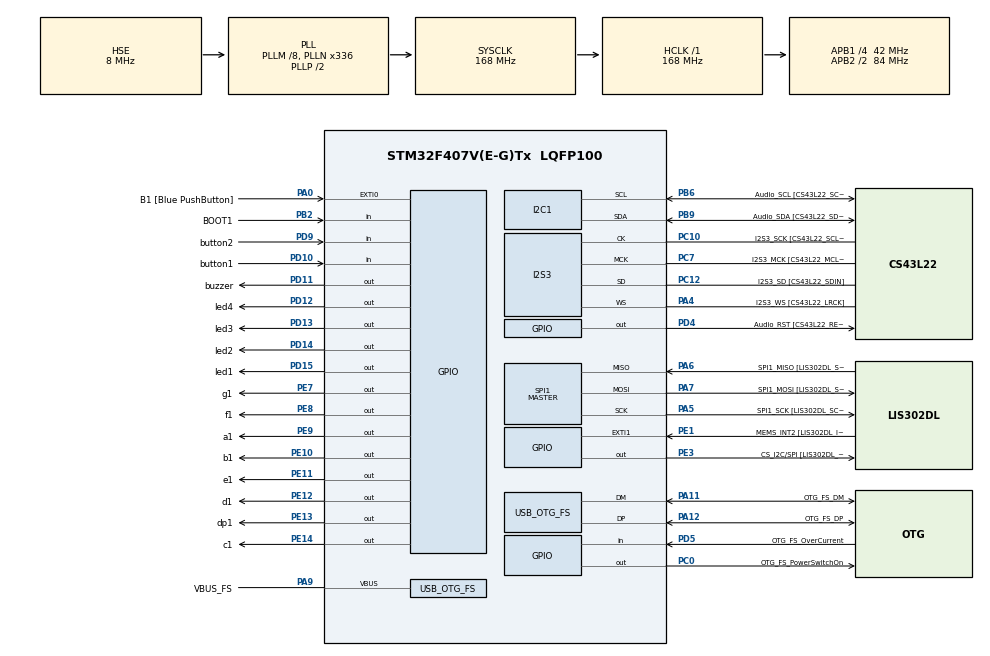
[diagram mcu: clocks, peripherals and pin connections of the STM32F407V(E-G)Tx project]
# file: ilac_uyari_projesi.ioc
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I2S3.AudioFreq-Half_Duplex_Master=I2S_AUDIOFREQ_96K
I2S3.ErrorAudioFreq=-2.34 %
I2S3.ErrorAudioFreq-Half_Duplex_Master=0.8 %
I2S3.FullDuplexMode=I2S_FULLDUPLEXMODE_DISABLE
I2S3.Instance=SPI$Index
I2S3.RealAudioFreq=93.75 KHz
I2S3.RealAudioFreq-Half_Duplex_Master=96.774 KHz
I2S3.VirtualMode=I2S_MODE_MASTER
Mcu.Family=STM32F4
Mcu.Name=STM32F407V(E-G)Tx
Mcu.Package=LQFP100
NVIC.EXTI0_IRQn=true\:0\:0\:false\:false\:true\:true\:true\:true
NVIC.OTG_FS_IRQn=true\:0\:0\:false\:false\:true\:true\:true\:true
NVIC.PriorityGroup=NVIC_PRIORITYGROUP_0
NVIC.RTC_Alarm_IRQn=true\:0\:0\:false\:false\:true\:true\:true\:true
PA0-WKUP.GPIO_Label=B1 [Blue PushButton]
PA0-WKUP.GPIO_ModeDefaultEXTI=GPIO_MODE_IT_FALLING
PA0-WKUP.GPIO_PuPd=GPIO_NOPULL
PA0-WKUP.Signal=GPXTI0
PA10.GPIO_Label=OTG_FS_ID
PA10.GPIO_Mode=GPIO_MODE_AF_PP
PA10.GPIO_PuPd=GPIO_NOPULL
PA10.GPIO_Speed=GPIO_SPEED_FREQ_LOW
PA10.Signal=USB_OTG_FS_ID
PA11.GPIO_Label=OTG_FS_DM
PA11.GPIO_Mode=GPIO_MODE_AF_PP
PA11.GPIO_PuPd=GPIO_NOPULL
PA11.GPIO_Speed=GPIO_SPEED_FREQ_LOW
PA11.Mode=Host_Only
PA11.Signal=USB_OTG_FS_DM
PA12.GPIO_Label=OTG_FS_DP
PA12.GPIO_Mode=GPIO_MODE_AF_PP
PA12.GPIO_PuPd=GPIO_NOPULL
PA12.GPIO_Speed=GPIO_SPEED_FREQ_LOW
PA12.Mode=Host_Only
PA12.Signal=USB_OTG_FS_DP
PA13.GPIO_Label=SWDIO
PA13.Mode=Serial_Wire
PA13.Signal=SYS_JTMS-SWDIO
PA14.GPIO_Label=SWCLK
PA14.Mode=Serial_Wire
PA14.Signal=SYS_JTCK-SWCLK
PA4.GPIO_Label=I2S3_WS [CS43L22_LRCK]
PA4.GPIO_Mode=GPIO_MODE_AF_PP
PA4.GPIO_PuPd=GPIO_NOPULL
PA4.GPIO_Speed=GPIO_SPEED_FREQ_LOW
PA4.Mode=Half_Duplex_Master
PA4.Signal=I2S3_WS
PA5.GPIO_Label=SPI1_SCK [LIS302DL_SCL/SPC]
PA5.GPIO_Mode=GPIO_MODE_AF_PP
PA5.GPIO_PuPd=GPIO_NOPULL
PA5.GPIO_Speed=GPIO_SPEED_FREQ_LOW
PA5.Mode=Full_Duplex_Master
PA5.Signal=SPI1_SCK
PA6.GPIO_Label=SPI1_MISO [LIS302DL_SDO]
PA6.GPIO_Mode=GPIO_MODE_AF_PP
PA6.GPIO_PuPd=GPIO_NOPULL
PA6.GPIO_Speed=GPIO_SPEED_FREQ_LOW
PA6.Mode=Full_Duplex_Master
PA6.Signal=SPI1_MISO
PA7.GPIO_Label=SPI1_MOSI [LIS302DL_SDA/SDI/SDO]
PA7.GPIO_Mode=GPIO_MODE_AF_PP
PA7.GPIO_PuPd=GPIO_NOPULL
PA7.GPIO_Speed=GPIO_SPEED_FREQ_LOW
PA7.Mode=Full_Duplex_Master
PA7.Signal=SPI1_MOSI
PA9.GPIO_Label=VBUS_FS
PA9.GPIO_Mode=GPIO_MODE_INPUT
PA9.GPIO_PuPd=GPIO_NOPULL
PA9.Mode=Activate_VBUS
PA9.Signal=USB_OTG_FS_VBUS
PB10.GPIO_Label=CLK_IN [MP45DT02_CLK]
PB10.GPIO_Mode=GPIO_MODE_AF_PP
PB10.GPIO_PuPd=GPIO_NOPULL
PB10.GPIO_Speed=GPIO_SPEED_FREQ_LOW
PB10.Signal=I2S2_CK
PB2.GPIO_Label=BOOT1
PB2.GPIO_Mode=GPIO_MODE_INPUT
PB2.GPIO_PuPd=GPIO_NOPULL
PB2.Signal=GPIO_Input
PB3.GPIO_Label=SWO
PB3.Signal=SYS_JTDO-SWO
PB6.GPIO_Label=Audio_SCL [CS43L22_SCL]
PB6.GPIO_Mode=GPIO_MODE_AF_OD
PB6.GPIO_Pu=GPIO_PULLUP
PB6.GPIO_PuPd=GPIO_NOPULL
PB6.GPIO_Speed=GPIO_SPEED_FREQ_LOW
PB6.Mode=I2C
PB6.Signal=I2C1_SCL
PB9.GPIO_Label=Audio_SDA [CS43L22_SDA]
PB9.GPIO_Mode=GPIO_MODE_AF_OD
PB9.GPIO_Pu=GPIO_PULLUP
PB9.GPIO_PuPd=GPIO_NOPULL
PB9.GPIO_Speed=GPIO_SPEED_FREQ_LOW
PB9.Mode=I2C
PB9.Signal=I2C1_SDA
PC0.GPIO_Label=OTG_FS_PowerSwitchOn
PC0.GPIO_PuPd=GPIO_NOPULL
PC0.GPIO_Speed=GPIO_SPEED_FREQ_LOW
PC0.PinState=GPIO_PIN_SET
PC0.Signal=GPIO_Output
PC10.GPIO_Label=I2S3_SCK [CS43L22_SCLK]
PC10.GPIO_Mode=GPIO_MODE_AF_PP
PC10.GPIO_PuPd=GPIO_NOPULL
PC10.GPIO_Speed=GPIO_SPEED_FREQ_LOW
PC10.Mode=Half_Duplex_Master
PC10.Signal=I2S3_CK
PC12.GPIO_Label=I2S3_SD [CS43L22_SDIN]
PC12.GPIO_Mode=GPIO_MODE_AF_PP
PC12.GPIO_PuPd=GPIO_NOPULL
PC12.GPIO_Speed=GPIO_SPEED_FREQ_LOW
PC12.Mode=Half_Duplex_Master
PC12.Signal=I2S3_SD
PC14-OSC32_IN.GPIO_Label=PC14-OSC32_IN
PC14-OSC32_IN.Mode=LSE-External-Oscillator
PC14-OSC32_IN.Signal=RCC_OSC32_IN
PC15-OSC32_OUT.GPIO_Label=PC15-OSC32_OUT
PC15-OSC32_OUT.Mode=LSE-External-Oscillator
PC15-OSC32_OUT.Signal=RCC_OSC32_OUT
PC3.GPIO_Label=PDM_OUT [MP45DT02_DOUT]
PC3.GPIO_Mode=GPIO_MODE_AF_PP
PC3.GPIO_PuPd=GPIO_NOPULL
PC3.GPIO_Speed=GPIO_SPEED_FREQ_LOW
PC3.Signal=I2S2_SD
PC7.GPIO_Label=I2S3_MCK [CS43L22_MCLK]
PC7.GPIO_Mode=GPIO_MODE_AF_PP
PC7.GPIO_PuPd=GPIO_NOPULL
PC7.GPIO_Speed=GPIO_SPEED_FREQ_LOW
PC7.Mode=Master_Clock_Activated
PC7.Signal=I2S3_MCK
PD10.GPIO_Label=button1
PD10.GPIO_PuPd=GPIO_PULLDOWN
PD10.Signal=GPIO_Input
PD11.GPIO_Label=buzzer
PD11.Signal=GPIO_Output
PD12.GPIO_Label=led4
PD12.GPIO_PuPd=GPIO_NOPULL
PD12.GPIO_Speed=GPIO_SPEED_FREQ_LOW
PD12.Signal=GPIO_Output
PD13.GPIO_Label=led3
PD13.GPIO_PuPd=GPIO_NOPULL
PD13.GPIO_Speed=GPIO_SPEED_FREQ_LOW
PD13.Signal=GPIO_Output
PD14.GPIO_Label=led2
PD14.GPIO_PuPd=GPIO_NOPULL
PD14.GPIO_Speed=GPIO_SPEED_FREQ_LOW
PD14.Signal=GPIO_Output
PD15.GPIO_Label=led1
PD15.GPIO_PuPd=GPIO_NOPULL
PD15.GPIO_Speed=GPIO_SPEED_FREQ_LOW
PD15.Signal=GPIO_Output
PD4.GPIO_Label=Audio_RST [CS43L22_RESET]
PD4.GPIO_PuPd=GPIO_NOPULL
PD4.GPIO_Speed=GPIO_SPEED_FREQ_LOW
PD4.Signal=GPIO_Output
PD5.GPIO_Label=OTG_FS_OverCurrent
PD5.GPIO_Mode=GPIO_MODE_INPUT
PD5.GPIO_PuPd=GPIO_NOPULL
PD5.Signal=GPIO_Input
PD9.GPIO_Label=button2
PD9.GPIO_PuPd=GPIO_PULLDOWN
PD9.Signal=GPIO_Input
PE1.GPIO_Label=MEMS_INT2 [LIS302DL_INT2]
PE1.GPIO_ModeDefaultEXTI=GPIO_MODE_EVT_RISING
PE1.GPIO_PuPd=GPIO_NOPULL
PE1.Signal=GPXTI1
PE10.GPIO_Label=b1
PE10.Signal=GPIO_Output
PE11.GPIO_Label=e1
PE11.Signal=GPIO_Output
PE12.GPIO_Label=d1
PE12.Signal=GPIO_Output
PE13.GPIO_Label=dp1
PE13.Signal=GPIO_Output
PE14.GPIO_Label=c1
PE14.Signal=GPIO_Output
PE3.GPIO_Label=CS_I2C/SPI [LIS302DL_CS_I2C/SPI]
PE3.GPIO_PuPd=GPIO_NOPULL
PE3.GPIO_Speed=GPIO_SPEED_FREQ_LOW
PE3.Signal=GPIO_Output
PE7.GPIO_Label=g1
PE7.Signal=GPIO_Output
PE8.GPIO_Label=f1
PE8.Signal=GPIO_Output
PE9.GPIO_Label=a1
PE9.Signal=GPIO_Output
PH0-OSC_IN.GPIO_Label=PH0-OSC_IN
PH0-OSC_IN.Mode=HSE-External-Oscillator
PH0-OSC_IN.Signal=RCC_OSC_IN
PH1-OSC_OUT.GPIO_Label=PH1-OSC_OUT
PH1-OSC_OUT.Mode=HSE-External-Oscillator
PH1-OSC_OUT.Signal=RCC_OSC_OUT
ProjectManager.HeapSize=0x200
ProjectManager.StackSize=0x400
ProjectManager.TargetToolchain=STM32CubeIDE
RCC.48MHZClocksFreq_Value=48000000
RCC.AHBFreq_Value=168000000
RCC.APB1CLKDivider=RCC_HCLK_DIV4
RCC.APB1Freq_Value=42000000
RCC.APB1TimFreq_Value=84000000
RCC.APB2CLKDivider=RCC_HCLK_DIV2
RCC.APB2Freq_Value=84000000
RCC.APB2TimFreq_Value=168000000
RCC.CortexFreq_Value=168000000
RCC.HCLKFreq_Value=168000000
RCC.HSE_VALUE=8000000
RCC.HSI_VALUE=16000000
RCC.PLLM=8
RCC.PLLN=336
RCC.PLLQ=7
RCC.RCC_RTC_Clock_Source=RCC_RTCCLKSOURCE_LSI
RCC.RCC_RTC_Clock_SourceVirtual=RCC_RTCCLKSOURCE_LSE
RCC.SYSCLKFreq_VALUE=168000000
RCC.SYSCLKSource=RCC_SYSCLKSOURCE_PLLCLK
RCC.VCOOutputFreq_Value=336000000
RTC.Alarm=RTC_ALARM_A
RTC.Date=2
RTC.Format=RTC_FORMAT_BIN
RTC.Hours=17
RTC.Minutes=5
RTC.Month=RTC_MONTH_FEBRUARY
RTC.Seconds=1
RTC.Seconds_A=10
RTC.WeekDay=RTC_WEEKDAY_SUNDAY
SPI1.BaudRatePrescaler-Full_Duplex_Master=SPI_BAUDRATEPRESCALER_2
SPI1.CalculateBaudRate-Full_Duplex_Master=42.0 MBits/s
SPI1.Direction=SPI_DIRECTION_2LINES
SPI1.Mode=SPI_MODE_MASTER
SPI1.Mode-Full_Duplex_Master=SPI_MODE_MASTER
SPI1.VirtualType=VM_MASTER
USB_HOST.BSP.number=1
USB_HOST.USBH_HandleTypeDef-CDC_FS=hUsbHostFS
USB_HOST.VirtualModeFS=Cdc
USB_HOST0.BSP.STBoard=false
USB_HOST0.BSP.api=Unknown
USB_HOST0.BSP.instance=PC0
USB_HOST0.BSP.ip=GPIO
USB_HOST0.BSP.mode=Output
USB_HOST0.BSP.name=Drive_VBUS_FS
USB_HOST0.BSP.solution=PC0
USB_OTG_FS.VirtualMode=Host_Only
USB_OTG_FS.phy_itface=HCD_PHY_EMBEDDED
VP_RTC_VS_RTC_Activate.Mode=RTC_Enabled
VP_RTC_VS_RTC_Alarm_A_Intern.Mode=Alarm A
VP_RTC_VS_RTC_Calendar.Mode=RTC_Calendar
VP_USB_HOST_VS_USB_HOST_CDC_FS.Mode=CDC_FS
board=STM32F407G-DISC1

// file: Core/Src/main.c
/* USER CODE BEGIN Header */
/**
  ******************************************************************************
  * @file           : main.c
  * @brief          : Main program body
  ******************************************************************************
  * @attention
  *
  * Copyright (c) 2025 STMicroelectronics.
  * All rights reserved.
  *
  * This software is licensed under terms that can be found in the LICENSE file
  * in the root directory of this software component.
  * If no LICENSE file comes with this software, it is provided AS-IS.
  *
  ******************************************************************************
  */
/* USER CODE END Header */
#include "main.h"
#include "usb_host.h"

/* USER CODE BEGIN Includes */
#include "stdbool.h"
#include "stdio.h"
#include "stdint.h"
#include "FLASH_PROCESS_lib.h"
/* USER CODE END Includes */

I2C_HandleTypeDef hi2c1;

I2S_HandleTypeDef hi2s3;

RTC_HandleTypeDef hrtc;

SPI_HandleTypeDef hspi1;

/* USER CODE BEGIN PV */
RTC_TimeTypeDef RTC_Time;
RTC_TimeTypeDef RTC_AlarmTime;
RTC_DateTypeDef RTC_Date;
RTC_AlarmTypeDef RTC_Alarm;

bool AlarmState = false;
bool AlarmTriggered =false;
int button1_flag=0;
int button2_flag=0;

int PickerHours1=0;
int PickerHours2=0;
int PickerMinutes1=0;
int PickerMinutes2=0;

uint32_t flash_hours;
uint32_t flash_minutes;
/* USER CODE END PV */

void SystemClock_Config(void);
static void MX_GPIO_Init(void);
static void MX_I2C1_Init(void);
static void MX_I2S3_Init(void);
static void MX_SPI1_Init(void);
static void MX_RTC_Init(void);
void MX_USB_HOST_Process(void);

/* USER CODE BEGIN 0 */

void process_alarm(bool AlarmState, int time){
	if(AlarmState == true){
		HAL_GPIO_TogglePin(buzzer_GPIO_Port, buzzer_Pin);

//		06:00 - 11:59 → Sabah
//		12:00 - 17:59 → Öğle
//		18:00 - 23:59 → Akşam
//		00:00 - 05:59 → Gece
			if (6 <= time && time < 12) {
			    // Sabah
				HAL_GPIO_TogglePin(led1_GPIO_Port, led1_Pin);
				HAL_GPIO_WritePin(led2_GPIO_Port, led2_Pin, GPIO_PIN_RESET);
				HAL_GPIO_WritePin(led3_GPIO_Port, led3_Pin, GPIO_PIN_RESET);
				HAL_GPIO_WritePin(led4_GPIO_Port, led4_Pin, GPIO_PIN_RESET);
			}
			else if (12 <= time && time < 18) {
			    // Öğle
				HAL_GPIO_TogglePin(led2_GPIO_Port, led2_Pin);
				HAL_GPIO_WritePin(led1_GPIO_Port, led1_Pin, GPIO_PIN_RESET);
				HAL_GPIO_WritePin(led3_GPIO_Port, led3_Pin, GPIO_PIN_RESET);
				HAL_GPIO_WritePin(led4_GPIO_Port, led4_Pin, GPIO_PIN_RESET);
			}
			else if (18 <= time && time < 24) {
			    // Akşam
				HAL_GPIO_TogglePin(led3_GPIO_Port, led3_Pin);
				HAL_GPIO_WritePin(led1_GPIO_Port, led1_Pin, GPIO_PIN_RESET);
				HAL_GPIO_WritePin(led2_GPIO_Port, led2_Pin, GPIO_PIN_RESET);
				HAL_GPIO_WritePin(led4_GPIO_Port, led4_Pin, GPIO_PIN_RESET);
			}
			else {
			    // Gece
				HAL_GPIO_TogglePin(led4_GPIO_Port, led4_Pin);
				HAL_GPIO_WritePin(led1_GPIO_Port, led1_Pin, GPIO_PIN_RESET);
				HAL_GPIO_WritePin(led2_GPIO_Port, led2_Pin, GPIO_PIN_RESET);
				HAL_GPIO_WritePin(led3_GPIO_Port, led3_Pin, GPIO_PIN_RESET);
			}

	}
	else{
		HAL_GPIO_WritePin(buzzer_GPIO_Port, buzzer_Pin, GPIO_PIN_RESET);
		HAL_GPIO_WritePin(led1_GPIO_Port, led1_Pin, GPIO_PIN_RESET);
		HAL_GPIO_WritePin(led2_GPIO_Port, led2_Pin, GPIO_PIN_RESET);
		HAL_GPIO_WritePin(led3_GPIO_Port, led3_Pin, GPIO_PIN_RESET);
		HAL_GPIO_WritePin(led4_GPIO_Port, led4_Pin, GPIO_PIN_RESET);
	}
}

void HAL_GPIO_EXTI_Callback(uint16_t GPIO_Pin){
    if (GPIO_Pin == GPIO_PIN_0)
    {
    	AlarmTriggered = true;
    }

}

void SevenSDisplay1(int value) {

    HAL_GPIO_WritePin(a1_GPIO_Port, a1_Pin, GPIO_PIN_RESET);
    HAL_GPIO_WritePin(b1_GPIO_Port, b1_Pin, GPIO_PIN_RESET);
    HAL_GPIO_WritePin(c1_GPIO_Port, c1_Pin, GPIO_PIN_RESET);
    HAL_GPIO_WritePin(d1_GPIO_Port, d1_Pin, GPIO_PIN_RESET);
    HAL_GPIO_WritePin(e1_GPIO_Port, e1_Pin, GPIO_PIN_RESET);
    HAL_GPIO_WritePin(f1_GPIO_Port, f1_Pin, GPIO_PIN_RESET);
    HAL_GPIO_WritePin(g1_GPIO_Port, g1_Pin, GPIO_PIN_RESET);
    HAL_GPIO_WritePin(dp1_GPIO_Port, dp1_Pin, GPIO_PIN_RESET);
    switch (value) {
        case 0:
            HAL_GPIO_WritePin(a1_GPIO_Port, a1_Pin, GPIO_PIN_SET);
            HAL_GPIO_WritePin(b1_GPIO_Port, b1_Pin, GPIO_PIN_SET);
            HAL_GPIO_WritePin(c1_GPIO_Port, c1_Pin, GPIO_PIN_SET);
            HAL_GPIO_WritePin(d1_GPIO_Port, d1_Pin, GPIO_PIN_SET);
            HAL_GPIO_WritePin(e1_GPIO_Port, e1_Pin, GPIO_PIN_SET);
            HAL_GPIO_WritePin(f1_GPIO_Port, f1_Pin, GPIO_PIN_SET);
            break;
        case 1:
            HAL_GPIO_WritePin(b1_GPIO_Port, b1_Pin, GPIO_PIN_SET);
            HAL_GPIO_WritePin(c1_GPIO_Port, c1_Pin, GPIO_PIN_SET);
            break;
        case 2:
            HAL_GPIO_WritePin(a1_GPIO_Port, a1_Pin, GPIO_PIN_SET);
            HAL_GPIO_WritePin(b1_GPIO_Port, b1_Pin, GPIO_PIN_SET);
            HAL_GPIO_WritePin(g1_GPIO_Port, g1_Pin, GPIO_PIN_SET);
            HAL_GPIO_WritePin(e1_GPIO_Port, e1_Pin, GPIO_PIN_SET);
            HAL_GPIO_WritePin(d1_GPIO_Port, d1_Pin, GPIO_PIN_SET);
            break;
        case 3:
            HAL_GPIO_WritePin(a1_GPIO_Port, a1_Pin, GPIO_PIN_SET);
            HAL_GPIO_WritePin(b1_GPIO_Port, b1_Pin, GPIO_PIN_SET);
            HAL_GPIO_WritePin(g1_GPIO_Port, g1_Pin, GPIO_PIN_SET);
            HAL_GPIO_WritePin(c1_GPIO_Port, c1_Pin, GPIO_PIN_SET);
            HAL_GPIO_WritePin(d1_GPIO_Port, d1_Pin, GPIO_PIN_SET);
            break;
        case 4:
            HAL_GPIO_WritePin(f1_GPIO_Port, f1_Pin, GPIO_PIN_SET);
            HAL_GPIO_WritePin(g1_GPIO_Port, g1_Pin, GPIO_PIN_SET);
            HAL_GPIO_WritePin(b1_GPIO_Port, b1_Pin, GPIO_PIN_SET);
            HAL_GPIO_WritePin(c1_GPIO_Port, c1_Pin, GPIO_PIN_SET);
            break;
        case 5:
            HAL_GPIO_WritePin(a1_GPIO_Port, a1_Pin, GPIO_PIN_SET);
            HAL_GPIO_WritePin(f1_GPIO_Port, f1_Pin, GPIO_PIN_SET);
            HAL_GPIO_WritePin(g1_GPIO_Port, g1_Pin, GPIO_PIN_SET);
            HAL_GPIO_WritePin(c1_GPIO_Port, c1_Pin, GPIO_PIN_SET);
            HAL_GPIO_WritePin(d1_GPIO_Port, d1_Pin, GPIO_PIN_SET);
            break;
        case 6:
            HAL_GPIO_WritePin(a1_GPIO_Port, a1_Pin, GPIO_PIN_SET);
            HAL_GPIO_WritePin(f1_GPIO_Port, f1_Pin, GPIO_PIN_SET);
            HAL_GPIO_WritePin(e1_GPIO_Port, e1_Pin, GPIO_PIN_SET);
            HAL_GPIO_WritePin(d1_GPIO_Port, d1_Pin, GPIO_PIN_SET);
            HAL_GPIO_WritePin(c1_GPIO_Port, c1_Pin, GPIO_PIN_SET);
            HAL_GPIO_WritePin(g1_GPIO_Port, g1_Pin, GPIO_PIN_SET);
            break;
        case 7:
            HAL_GPIO_WritePin(a1_GPIO_Port, a1_Pin, GPIO_PIN_SET);
            HAL_GPIO_WritePin(b1_GPIO_Port, b1_Pin, GPIO_PIN_SET);
            HAL_GPIO_WritePin(c1_GPIO_Port, c1_Pin, GPIO_PIN_SET);
            break;
        case 8:
            HAL_GPIO_WritePin(a1_GPIO_Port, a1_Pin, GPIO_PIN_SET);
            HAL_GPIO_WritePin(b1_GPIO_Port, b1_Pin, GPIO_PIN_SET);
            HAL_GPIO_WritePin(c1_GPIO_Port, c1_Pin, GPIO_PIN_SET);
            HAL_GPIO_WritePin(d1_GPIO_Port, d1_Pin, GPIO_PIN_SET);
            HAL_GPIO_WritePin(e1_GPIO_Port, e1_Pin, GPIO_PIN_SET);
            HAL_GPIO_WritePin(f1_GPIO_Port, f1_Pin, GPIO_PIN_SET);
            HAL_GPIO_WritePin(g1_GPIO_Port, g1_Pin, GPIO_PIN_SET);
            break;
        case 9:
            HAL_GPIO_WritePin(a1_GPIO_Port, a1_Pin, GPIO_PIN_SET);
            HAL_GPIO_WritePin(b1_GPIO_Port, b1_Pin, GPIO_PIN_SET);
            HAL_GPIO_WritePin(c1_GPIO_Port, c1_Pin, GPIO_PIN_SET);
            HAL_GPIO_WritePin(d1_GPIO_Port, d1_Pin, GPIO_PIN_SET);
            HAL_GPIO_WritePin(f1_GPIO_Port, f1_Pin, GPIO_PIN_SET);
            HAL_GPIO_WritePin(g1_GPIO_Port, g1_Pin, GPIO_PIN_SET);
            break;
        default:
            HAL_GPIO_WritePin(dp1_GPIO_Port, dp1_Pin, GPIO_PIN_RESET);
            break;
    }
}

void SevenSDisplay1_null(){
	  HAL_GPIO_WritePin(g1_GPIO_Port, g1_Pin, GPIO_PIN_SET);
	  HAL_GPIO_WritePin(a1_GPIO_Port, a1_Pin, GPIO_PIN_SET);
	  HAL_GPIO_WritePin(b1_GPIO_Port, b1_Pin, GPIO_PIN_SET);
	  HAL_GPIO_WritePin(c1_GPIO_Port, c1_Pin, GPIO_PIN_SET);
	  HAL_GPIO_WritePin(d1_GPIO_Port, d1_Pin, GPIO_PIN_SET);
	  HAL_GPIO_WritePin(e1_GPIO_Port, e1_Pin, GPIO_PIN_SET);
	  HAL_GPIO_WritePin(f1_GPIO_Port, f1_Pin, GPIO_PIN_SET);
	  HAL_GPIO_WritePin(dp1_GPIO_Port, dp1_Pin, GPIO_PIN_SET);
}

void TimePicker(int value){
	switch(value){
		case 1:
			if(HAL_GPIO_ReadPin(button2_GPIO_Port, button2_Pin) == 1){
				PickerHours1 =+1;
			}
			break;
		case 2:
			if(HAL_GPIO_ReadPin(button2_GPIO_Port, button2_Pin) == 1){
				PickerHours2 =+1;
			}
			break;
		case 3:
            HAL_GPIO_WritePin(dp1_GPIO_Port, dp1_Pin, GPIO_PIN_RESET);
			if(HAL_GPIO_ReadPin(button2_GPIO_Port, button2_Pin) == 1){
				PickerMinutes1 =+1;
				SevenSDisplay1(PickerMinutes1);
			}
			break;
		case 4:
            HAL_GPIO_WritePin(dp1_GPIO_Port, dp1_Pin, GPIO_PIN_RESET);
			if(HAL_GPIO_ReadPin(button2_GPIO_Port, button2_Pin) == 1){
				PickerMinutes2 =+1;
				SevenSDisplay1(PickerMinutes1);
			}
			break;
		default:
			break;

	}
}

/* USER CODE END 0 */

int main(void)
{

  /* MCU Configuration--------------------------------------------------------*/

  /* Reset of all peripherals, Initializes the Flash interface and the Systick. */
  HAL_Init();

  /* Configure the system clock */
  SystemClock_Config();

  /* Initialize all configured peripherals */
  MX_GPIO_Init();
  MX_I2C1_Init();
  MX_I2S3_Init();
  MX_SPI1_Init();
  MX_USB_HOST_Init();
  MX_RTC_Init();
  /* USER CODE BEGIN 2 */

  RTC_Time.Hours = 21;
  RTC_Time.Minutes = 15;
  RTC_Time.Seconds = 0;
  HAL_RTC_SetTime(&hrtc, &RTC_Time, RTC_FORMAT_BIN);

  RTC_Date.Year = 25;
  RTC_Date.Month = RTC_MONTH_FEBRUARY;
  RTC_Date.Date = 1;
  RTC_Date.WeekDay = RTC_WEEKDAY_SUNDAY;
  HAL_RTC_SetDate(&hrtc, &RTC_Date, RTC_FORMAT_BIN);

  RTC_AlarmTime.Hours = 21;
  RTC_AlarmTime.Minutes = 16;
  RTC_AlarmTime.Seconds = 0;

  SevenSDisplay1_null();

//  RTC_AlarmTime.Hours = 21;
//  RTC_AlarmTime.Minutes = 16;
//  RTC_Alarm.AlarmTime = RTC_AlarmTime;
//  HAL_RTC_SetAlarm(&hrtc, &RTC_Alarm, RTC_FORMAT_BIN);

  /* USER CODE END 2 */

  /* Infinite loop */
  while (1)
  {
    MX_USB_HOST_Process();

    /* USER CODE BEGIN 3 */

    HAL_RTC_GetTime(&hrtc, &RTC_Time, RTC_FORMAT_BIN);
    HAL_RTC_GetDate(&hrtc, &RTC_Date, RTC_FORMAT_BIN);

    if(HAL_GPIO_ReadPin(button1_GPIO_Port, button1_Pin) == GPIO_PIN_SET){
    	button1_flag +=1;
    	TimePicker(button1_flag);
        HAL_Delay(500);
    	if (button1_flag >= 5){
    		int setMinutes = (PickerMinutes1*10) + PickerMinutes2;
    		int setHours = (PickerHours1*10) + PickerHours2;
    		Flash_WR(flash_hours, setHours);
    		Flash_WR(flash_minutes, setMinutes);
    		button1_flag = 0;
    	}
    }
    if(button1_flag == 0){
        if(!AlarmTriggered && RTC_AlarmTime.Hours==RTC_Time.Hours && RTC_AlarmTime.Minutes == RTC_Time.Minutes){
        	AlarmState = true;
        }
        else{
        	AlarmState = false;
        }
        if(RTC_AlarmTime.Hours==RTC_Time.Hours && (RTC_AlarmTime.Minutes + 1)  == RTC_Time.Minutes ){
        	AlarmTriggered = false;
        }
        process_alarm(AlarmState, RTC_AlarmTime.Hours);
        HAL_Delay(100);
    }

  }
  /* USER CODE END 3 */
}

void SystemClock_Config(void)
{
  RCC_OscInitTypeDef RCC_OscInitStruct = {0};
  RCC_ClkInitTypeDef RCC_ClkInitStruct = {0};

  /** Configure the main internal regulator output voltage
  */
  __HAL_RCC_PWR_CLK_ENABLE();
  __HAL_PWR_VOLTAGESCALING_CONFIG(PWR_REGULATOR_VOLTAGE_SCALE1);

  /** Initializes the RCC Oscillators according to the specified parameters
  * in the RCC_OscInitTypeDef structure.
  */
  RCC_OscInitStruct.OscillatorType = RCC_OSCILLATORTYPE_LSI|RCC_OSCILLATORTYPE_HSE;
  RCC_OscInitStruct.HSEState = RCC_HSE_ON;
  RCC_OscInitStruct.LSIState = RCC_LSI_ON;
  RCC_OscInitStruct.PLL.PLLState = RCC_PLL_ON;
  RCC_OscInitStruct.PLL.PLLSource = RCC_PLLSOURCE_HSE;
  RCC_OscInitStruct.PLL.PLLM = 8;
  RCC_OscInitStruct.PLL.PLLN = 336;
  RCC_OscInitStruct.PLL.PLLP = RCC_PLLP_DIV2;
  RCC_OscInitStruct.PLL.PLLQ = 7;
  if (HAL_RCC_OscConfig(&RCC_OscInitStruct) != HAL_OK)
  {
    Error_Handler();
  }

  /** Initializes the CPU, AHB and APB buses clocks
  */
  RCC_ClkInitStruct.ClockType = RCC_CLOCKTYPE_HCLK|RCC_CLOCKTYPE_SYSCLK
                              |RCC_CLOCKTYPE_PCLK1|RCC_CLOCKTYPE_PCLK2;
  RCC_ClkInitStruct.SYSCLKSource = RCC_SYSCLKSOURCE_PLLCLK;
  RCC_ClkInitStruct.AHBCLKDivider = RCC_SYSCLK_DIV1;
  RCC_ClkInitStruct.APB1CLKDivider = RCC_HCLK_DIV4;
  RCC_ClkInitStruct.APB2CLKDivider = RCC_HCLK_DIV2;

  if (HAL_RCC_ClockConfig(&RCC_ClkInitStruct, FLASH_LATENCY_5) != HAL_OK)
  {
    Error_Handler();
  }
}

static void MX_I2C1_Init(void)
{

  hi2c1.Instance = I2C1;
  hi2c1.Init.ClockSpeed = 100000;
  hi2c1.Init.DutyCycle = I2C_DUTYCYCLE_2;
  hi2c1.Init.OwnAddress1 = 0;
  hi2c1.Init.AddressingMode = I2C_ADDRESSINGMODE_7BIT;
  hi2c1.Init.DualAddressMode = I2C_DUALADDRESS_DISABLE;
  hi2c1.Init.OwnAddress2 = 0;
  hi2c1.Init.GeneralCallMode = I2C_GENERALCALL_DISABLE;
  hi2c1.Init.NoStretchMode = I2C_NOSTRETCH_DISABLE;
  if (HAL_I2C_Init(&hi2c1) != HAL_OK)
  {
    Error_Handler();
  }

}

static void MX_I2S3_Init(void)
{

  hi2s3.Instance = SPI3;
  hi2s3.Init.Mode = I2S_MODE_MASTER_TX;
  hi2s3.Init.Standard = I2S_STANDARD_PHILIPS;
  hi2s3.Init.DataFormat = I2S_DATAFORMAT_16B;
  hi2s3.Init.MCLKOutput = I2S_MCLKOUTPUT_ENABLE;
  hi2s3.Init.AudioFreq = I2S_AUDIOFREQ_96K;
  hi2s3.Init.CPOL = I2S_CPOL_LOW;
  hi2s3.Init.ClockSource = I2S_CLOCK_PLL;
  hi2s3.Init.FullDuplexMode = I2S_FULLDUPLEXMODE_DISABLE;
  if (HAL_I2S_Init(&hi2s3) != HAL_OK)
  {
    Error_Handler();
  }

}

static void MX_RTC_Init(void)
{

  RTC_TimeTypeDef sTime = {0};
  RTC_DateTypeDef sDate = {0};
  RTC_AlarmTypeDef sAlarm = {0};

  /** Initialize RTC Only
  */
  hrtc.Instance = RTC;
  hrtc.Init.HourFormat = RTC_HOURFORMAT_24;
  hrtc.Init.AsynchPrediv = 127;
  hrtc.Init.SynchPrediv = 255;
  hrtc.Init.OutPut = RTC_OUTPUT_DISABLE;
  hrtc.Init.OutPutPolarity = RTC_OUTPUT_POLARITY_HIGH;
  hrtc.Init.OutPutType = RTC_OUTPUT_TYPE_OPENDRAIN;
  if (HAL_RTC_Init(&hrtc) != HAL_OK)
  {
    Error_Handler();
  }

  /** Initialize RTC and set the Time and Date
  */
  sTime.Hours = 17;
  sTime.Minutes = 5;
  sTime.Seconds = 1;
  sTime.DayLightSaving = RTC_DAYLIGHTSAVING_NONE;
  sTime.StoreOperation = RTC_STOREOPERATION_RESET;
  if (HAL_RTC_SetTime(&hrtc, &sTime, RTC_FORMAT_BIN) != HAL_OK)
  {
    Error_Handler();
  }
  sDate.WeekDay = RTC_WEEKDAY_SUNDAY;
  sDate.Month = RTC_MONTH_FEBRUARY;
  sDate.Date = 2;
  sDate.Year = 0;

  if (HAL_RTC_SetDate(&hrtc, &sDate, RTC_FORMAT_BIN) != HAL_OK)
  {
    Error_Handler();
  }

  /** Enable the Alarm A
  */
  sAlarm.AlarmTime.Hours = 0;
  sAlarm.AlarmTime.Minutes = 0;
  sAlarm.AlarmTime.Seconds = 10;
  sAlarm.AlarmTime.SubSeconds = 0;
  sAlarm.AlarmTime.DayLightSaving = RTC_DAYLIGHTSAVING_NONE;
  sAlarm.AlarmTime.StoreOperation = RTC_STOREOPERATION_RESET;
  sAlarm.AlarmMask = RTC_ALARMMASK_NONE;
  sAlarm.AlarmSubSecondMask = RTC_ALARMSUBSECONDMASK_ALL;
  sAlarm.AlarmDateWeekDaySel = RTC_ALARMDATEWEEKDAYSEL_DATE;
  sAlarm.AlarmDateWeekDay = 1;
  sAlarm.Alarm = RTC_ALARM_A;
  if (HAL_RTC_SetAlarm_IT(&hrtc, &sAlarm, RTC_FORMAT_BIN) != HAL_OK)
  {
    Error_Handler();
  }

}

static void MX_SPI1_Init(void)
{

  /* SPI1 parameter configuration*/
  hspi1.Instance = SPI1;
  hspi1.Init.Mode = SPI_MODE_MASTER;
  hspi1.Init.Direction = SPI_DIRECTION_2LINES;
  hspi1.Init.DataSize = SPI_DATASIZE_8BIT;
  hspi1.Init.CLKPolarity = SPI_POLARITY_LOW;
  hspi1.Init.CLKPhase = SPI_PHASE_1EDGE;
  hspi1.Init.NSS = SPI_NSS_SOFT;
  hspi1.Init.BaudRatePrescaler = SPI_BAUDRATEPRESCALER_2;
  hspi1.Init.FirstBit = SPI_FIRSTBIT_MSB;
  hspi1.Init.TIMode = SPI_TIMODE_DISABLE;
  hspi1.Init.CRCCalculation = SPI_CRCCALCULATION_DISABLE;
  hspi1.Init.CRCPolynomial = 10;
  if (HAL_SPI_Init(&hspi1) != HAL_OK)
  {
    Error_Handler();
  }

}

static void MX_GPIO_Init(void)
{
  GPIO_InitTypeDef GPIO_InitStruct = {0};

  /* GPIO Ports Clock Enable */
  __HAL_RCC_GPIOE_CLK_ENABLE();
  __HAL_RCC_GPIOC_CLK_ENABLE();
  __HAL_RCC_GPIOH_CLK_ENABLE();
  __HAL_RCC_GPIOA_CLK_ENABLE();
  __HAL_RCC_GPIOB_CLK_ENABLE();
  __HAL_RCC_GPIOD_CLK_ENABLE();

  /*Configure GPIO pin Output Level */
  HAL_GPIO_WritePin(GPIOE, CS_I2C_SPI_Pin|g1_Pin|f1_Pin|a1_Pin
                          |b1_Pin|e1_Pin|d1_Pin|dp1_Pin
                          |c1_Pin, GPIO_PIN_RESET);

  /*Configure GPIO pin Output Level */
  HAL_GPIO_WritePin(OTG_FS_PowerSwitchOn_GPIO_Port, OTG_FS_PowerSwitchOn_Pin, GPIO_PIN_SET);

  /*Configure GPIO pin Output Level */
  HAL_GPIO_WritePin(GPIOD, buzzer_Pin|led4_Pin|led3_Pin|led2_Pin
                          |led1_Pin|Audio_RST_Pin, GPIO_PIN_RESET);

  /*Configure GPIO pins : CS_I2C_SPI_Pin g1_Pin f1_Pin a1_Pin
                           b1_Pin e1_Pin d1_Pin dp1_Pin
                           c1_Pin */
  GPIO_InitStruct.Pin = CS_I2C_SPI_Pin|g1_Pin|f1_Pin|a1_Pin
                          |b1_Pin|e1_Pin|d1_Pin|dp1_Pin
                          |c1_Pin;
  GPIO_InitStruct.Mode = GPIO_MODE_OUTPUT_PP;
  GPIO_InitStruct.Pull = GPIO_NOPULL;
  GPIO_InitStruct.Speed = GPIO_SPEED_FREQ_LOW;
  HAL_GPIO_Init(GPIOE, &GPIO_InitStruct);

  /*Configure GPIO pin : OTG_FS_PowerSwitchOn_Pin */
  GPIO_InitStruct.Pin = OTG_FS_PowerSwitchOn_Pin;
  GPIO_InitStruct.Mode = GPIO_MODE_OUTPUT_PP;
  GPIO_InitStruct.Pull = GPIO_NOPULL;
  GPIO_InitStruct.Speed = GPIO_SPEED_FREQ_LOW;
  HAL_GPIO_Init(OTG_FS_PowerSwitchOn_GPIO_Port, &GPIO_InitStruct);

  /*Configure GPIO pin : PDM_OUT_Pin */
  GPIO_InitStruct.Pin = PDM_OUT_Pin;
  GPIO_InitStruct.Mode = GPIO_MODE_AF_PP;
  GPIO_InitStruct.Pull = GPIO_NOPULL;
  GPIO_InitStruct.Speed = GPIO_SPEED_FREQ_LOW;
  GPIO_InitStruct.Alternate = GPIO_AF5_SPI2;
  HAL_GPIO_Init(PDM_OUT_GPIO_Port, &GPIO_InitStruct);

  /*Configure GPIO pin : B1_Pin */
  GPIO_InitStruct.Pin = B1_Pin;
  GPIO_InitStruct.Mode = GPIO_MODE_IT_FALLING;
  GPIO_InitStruct.Pull = GPIO_NOPULL;
  HAL_GPIO_Init(B1_GPIO_Port, &GPIO_InitStruct);

  /*Configure GPIO pin : BOOT1_Pin */
  GPIO_InitStruct.Pin = BOOT1_Pin;
  GPIO_InitStruct.Mode = GPIO_MODE_INPUT;
  GPIO_InitStruct.Pull = GPIO_NOPULL;
  HAL_GPIO_Init(BOOT1_GPIO_Port, &GPIO_InitStruct);

  /*Configure GPIO pin : CLK_IN_Pin */
  GPIO_InitStruct.Pin = CLK_IN_Pin;
  GPIO_InitStruct.Mode = GPIO_MODE_AF_PP;
  GPIO_InitStruct.Pull = GPIO_NOPULL;
  GPIO_InitStruct.Speed = GPIO_SPEED_FREQ_LOW;
  GPIO_InitStruct.Alternate = GPIO_AF5_SPI2;
  HAL_GPIO_Init(CLK_IN_GPIO_Port, &GPIO_InitStruct);

  /*Configure GPIO pins : button2_Pin button1_Pin */
  GPIO_InitStruct.Pin = button2_Pin|button1_Pin;
  GPIO_InitStruct.Mode = GPIO_MODE_INPUT;
  GPIO_InitStruct.Pull = GPIO_PULLDOWN;
  HAL_GPIO_Init(GPIOD, &GPIO_InitStruct);

  /*Configure GPIO pins : buzzer_Pin led4_Pin led3_Pin led2_Pin
                           led1_Pin Audio_RST_Pin */
  GPIO_InitStruct.Pin = buzzer_Pin|led4_Pin|led3_Pin|led2_Pin
                          |led1_Pin|Audio_RST_Pin;
  GPIO_InitStruct.Mode = GPIO_MODE_OUTPUT_PP;
  GPIO_InitStruct.Pull = GPIO_NOPULL;
  GPIO_InitStruct.Speed = GPIO_SPEED_FREQ_LOW;
  HAL_GPIO_Init(GPIOD, &GPIO_InitStruct);

  /*Configure GPIO pin : OTG_FS_OverCurrent_Pin */
  GPIO_InitStruct.Pin = OTG_FS_OverCurrent_Pin;
  GPIO_InitStruct.Mode = GPIO_MODE_INPUT;
  GPIO_InitStruct.Pull = GPIO_NOPULL;
  HAL_GPIO_Init(OTG_FS_OverCurrent_GPIO_Port, &GPIO_InitStruct);

  /*Configure GPIO pin : MEMS_INT2_Pin */
  GPIO_InitStruct.Pin = MEMS_INT2_Pin;
  GPIO_InitStruct.Mode = GPIO_MODE_EVT_RISING;
  GPIO_InitStruct.Pull = GPIO_NOPULL;
  HAL_GPIO_Init(MEMS_INT2_GPIO_Port, &GPIO_InitStruct);

  /* EXTI interrupt init*/
  HAL_NVIC_SetPriority(EXTI0_IRQn, 0, 0);
  HAL_NVIC_EnableIRQ(EXTI0_IRQn);

}

void Error_Handler(void)
{
  __disable_irq();
  while (1)
  {
  }
}
